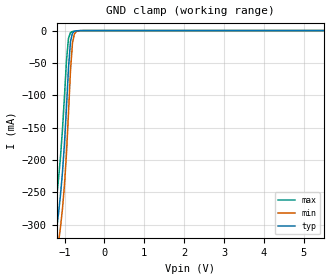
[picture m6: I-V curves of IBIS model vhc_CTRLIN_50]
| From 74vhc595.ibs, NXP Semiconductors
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|   Model vhc_CTRLIN_50
[Model]   vhc_CTRLIN_50
Model_type   Input
Vinl =   1.6500V
Vinh =   3.8500V
C_comp   0.45pF   0.32pF   0.61pF
[Model Spec]
| Note: The input and output voltage ratings may be exceeded if the input and
|   output current ratings are observed (please refer to the data sheet)
|   Subparameter   typ   min   max
| Thresholds
Vinh   3.85   NA   NA
Vinl   1.65   NA   NA
| Overshoot
S_overshoot_high   7.0   7.0   7.0   | Static overshoot
S_overshoot_low   -0.5   -0.5   -0.5
D_overshoot_high   11.0   11.0   11.0   | Dynamic overshoot
D_overshoot_low   -0.95   -0.9   -1.0
D_overshoot_time   3n   3n   3n
|Ambient temperature:   25.0000   85.0000   -40.0000
[Temperature Range]   55.0000   110.0000   -5.0000
[Voltage Range]   5.0000V   4.5000V   5.5000V
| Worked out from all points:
|   GND clamp passes 1 mA (typ) near -0.75 V on its own axis
|Process Range   nominal   slow   fast
[GND_clamp]
| voltage   I(typ)   I(min)   I(max)
-5.5V     -4.525A    -4.549A    -4.495A
-1.3V     -373.3mA   -409.5mA   -330.1mA
-1.2V     -307.7mA   -348mA     -259.7mA
-1.1V     -253.8mA   -303.6mA   -194.6mA
-1.05V    -218.4mA   -274.7mA   -152mA
-950mV    -118.1mA   -189.3mA   -46.31mA
-900mV    -57.87mA   -127.6mA   -11.93mA
-850mV    -16.96mA   -61.59mA   -3.088mA
-800mV    -3.834mA   -19.15mA   -1.465mA
-750mV    -1.005mA   -4.867mA   -923uA
-600mV    -83.72uA   -113.1uA   -151.7uA
5.5V      58.3pA     1.82nA     103.7fA
